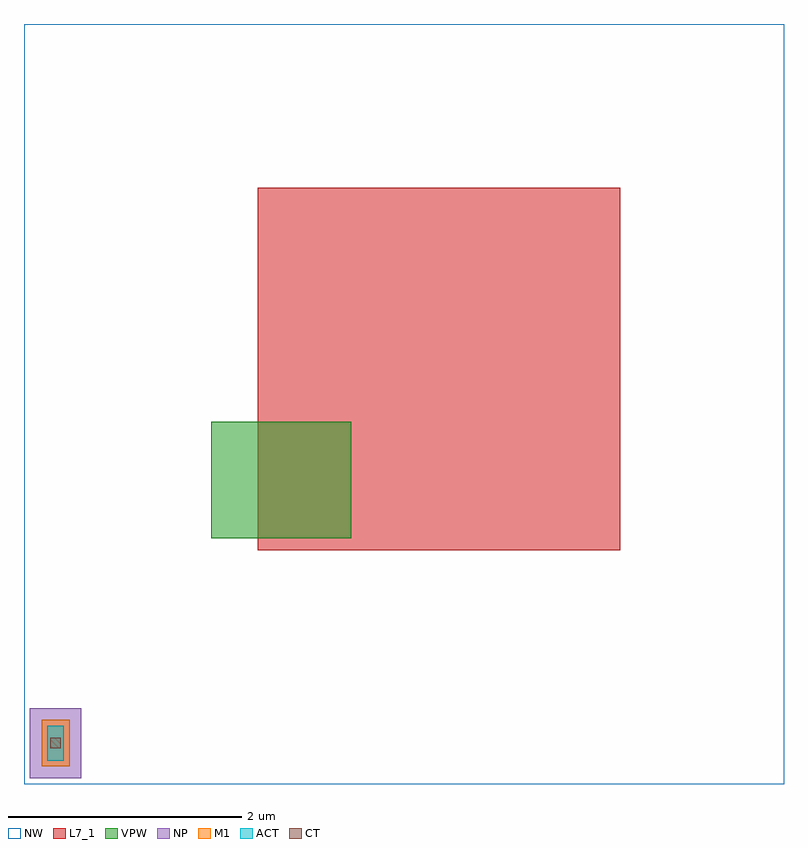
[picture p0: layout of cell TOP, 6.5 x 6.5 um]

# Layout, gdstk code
import gdstk
lib = gdstk.Library(unit=1e-6, precision=1e-09)
def R(c, l, rs):  # rectangles x0, y0, x1, y1
    for r in rs: c.add(gdstk.rectangle(r[:2], r[2:], *l))
ACT = (2, 1)
L7_1 = (7, 1)
NW = (9, 1)
NP = (52, 1)
CT = (72, 1)
M1 = (81, 1)
VPW = (261, 12)

top = lib.new_cell('TOP')
R(top, ACT, [(0.2,0.2,0.34,0.5)])
R(top, L7_1, [(2,2,5.1,5.1)])
R(top, NW, [(0,0,6.5,6.5)])
R(top, NP, [(0.05,0.05,0.49,0.65)])
R(top, CT, [(0.225,0.305,0.315,0.395)])
R(top, M1, [(0.15,0.15,0.39,0.55)])
R(top, VPW, [(1.6,2.1,2.8,3.1)])

lib.write_gds('TOP.gds')
